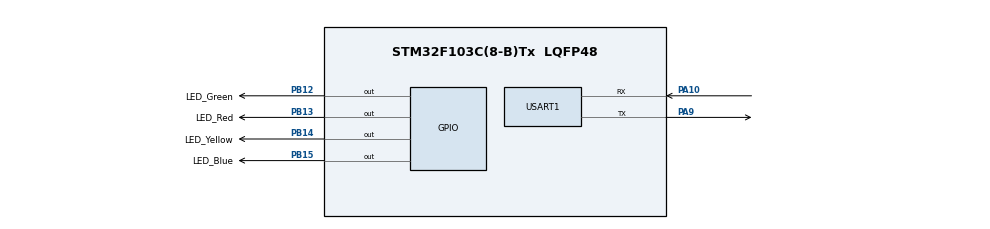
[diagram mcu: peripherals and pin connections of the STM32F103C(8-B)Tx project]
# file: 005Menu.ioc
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Mcu.Family=STM32F1
Mcu.Name=STM32F103C(8-B)Tx
Mcu.Package=LQFP48
NVIC.PriorityGroup=NVIC_PRIORITYGROUP_4
NVIC.TIM1_UP_IRQn=true\:15\:0\:false\:false\:true\:false\:true
NVIC.TimeBase=TIM1_UP_IRQn
NVIC.TimeBaseIP=TIM1
NVIC.USART1_IRQn=true\:6\:0\:true\:false\:true\:true\:true
PA10.Mode=Asynchronous
PA10.Signal=USART1_RX
PA13.Mode=Serial_Wire
PA13.Signal=SYS_JTMS-SWDIO
PA14.Mode=Serial_Wire
PA14.Signal=SYS_JTCK-SWCLK
PA9.Mode=Asynchronous
PA9.Signal=USART1_TX
PB12.GPIO_Label=LED_Green
PB12.Signal=GPIO_Output
PB13.GPIO_Label=LED_Red
PB13.Signal=GPIO_Output
PB14.GPIO_Label=LED_Yellow
PB14.Signal=GPIO_Output
PB15.GPIO_Label=LED_Blue
PB15.Signal=GPIO_Output
ProjectManager.HeapSize=0x200
ProjectManager.StackSize=0x400
ProjectManager.TargetToolchain=STM32CubeIDE
RCC.APB1Freq_Value=8000000
RCC.APB2Freq_Value=8000000
USART1.VirtualMode=VM_ASYNC
VP_RTC_VS_RTC_Activate.Mode=RTC_Enabled
VP_SYS_VS_tim1.Mode=TIM1
board=custom

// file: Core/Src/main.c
/* USER CODE BEGIN Header */
/**
 ******************************************************************************
 * @file           : main.c
 * @brief          : Main program body
 ******************************************************************************
 * @attention
 *
 * Copyright (c) 2022 STMicroelectronics.
 * All rights reserved.
 *
 * This software is licensed under terms that can be found in the LICENSE file
 * in the root directory of this software component.
 * If no LICENSE file comes with this software, it is provided AS-IS.
 *
 ******************************************************************************
 */
/* USER CODE END Header */
#include "main.h"

/* USER CODE BEGIN PV */
TaskHandle_t menu_handler;
TaskHandle_t rtc_handler;
TaskHandle_t print_handler;
TaskHandle_t cmd_handler;
TaskHandle_t led_handler;
TaskHandle_t l_handler;

QueueHandle_t InputData_Queue;
QueueHandle_t Print_Queue;

state_t curr_state = sMainMenu;

RTC_HandleTypeDef hrtc;

UART_HandleTypeDef huart1;

BaseType_t status;

volatile uint8_t user_data;

TimerHandle_t h_led_timer[4];
TimerHandle_t rtc_timer;

/* USER CODE END PV */

void SystemClock_Config(void);
static void MX_GPIO_Init(void);
static void MX_RTC_Init(void);
static void MX_USART1_UART_Init(void);

/* USER CODE BEGIN PFP */
void led_effect_callback(TimerHandle_t xTimer);

void rtc_report_callback(TimerHandle_t xTimer);

/* USER CODE END PFP */

int main(void)
{

	/* MCU Configuration--------------------------------------------------------*/

	/* Reset of all peripherals, Initializes the Flash interface and the Systick. */
	HAL_Init();

	/* Configure the system clock */
	SystemClock_Config();

	/* Initialize all configured peripherals */
	MX_GPIO_Init();
	MX_RTC_Init();
	MX_USART1_UART_Init();
	/* USER CODE BEGIN 2 */
	status = xTaskCreate(menu_task, "Menu Task", 250, NULL, 2, &menu_handler);

	configASSERT(status == pdPASS);

	status = xTaskCreate(cmd_task, "Command Task", 250, NULL, 2, &cmd_handler);

	configASSERT(status == pdPASS);

	status = xTaskCreate(print_task, "Print Task", 250, NULL, 2, &print_handler);

	configASSERT(status == pdPASS);

	status = xTaskCreate(led_task, "Led Task", 250, NULL, 2, &l_handler);

	configASSERT(status == pdPASS);

	status = xTaskCreate(rtc_task, "RTC Task", 250, NULL, 2, &rtc_handler);

	configASSERT(status == pdPASS);

	InputData_Queue = xQueueCreate(10, sizeof(char));

	//if( ! InputData_Queue) Error_Handler();
	configASSERT(InputData_Queue != NULL);

	Print_Queue = xQueueCreate(10, sizeof(size_t));

	//if( ! Print_Queue) Error_Handler();
	configASSERT(Print_Queue != NULL);

	for(int i = -1; i++ < 4;)
		h_led_timer[i] = xTimerCreate("led_timer", pdMS_TO_TICKS(500), pdTRUE, (void*)(i+1), led_effect_callback);

	rtc_timer = xTimerCreate("rtc_report_timer", pdMS_TO_TICKS(1000), pdTRUE, (void*)0, rtc_report_callback);

	HAL_UART_Receive_IT(&huart1, (void*)&user_data, 1);

	vTaskStartScheduler();

	/* USER CODE END 2 */

	/* Infinite loop */
	while (1)
	{

	}
}

void SystemClock_Config(void)
{
	RCC_OscInitTypeDef RCC_OscInitStruct = {0};
	RCC_ClkInitTypeDef RCC_ClkInitStruct = {0};
	RCC_PeriphCLKInitTypeDef PeriphClkInit = {0};

	/** Initializes the RCC Oscillators according to the specified parameters
	 * in the RCC_OscInitTypeDef structure.
	 */
	RCC_OscInitStruct.OscillatorType = RCC_OSCILLATORTYPE_HSI|RCC_OSCILLATORTYPE_LSI;
	RCC_OscInitStruct.HSIState = RCC_HSI_ON;
	RCC_OscInitStruct.HSICalibrationValue = RCC_HSICALIBRATION_DEFAULT;
	RCC_OscInitStruct.LSIState = RCC_LSI_ON;
	RCC_OscInitStruct.PLL.PLLState = RCC_PLL_NONE;
	if (HAL_RCC_OscConfig(&RCC_OscInitStruct) != HAL_OK)
	{
		Error_Handler();
	}
	/** Initializes the CPU, AHB and APB buses clocks
	 */
	RCC_ClkInitStruct.ClockType = RCC_CLOCKTYPE_HCLK|RCC_CLOCKTYPE_SYSCLK
			|RCC_CLOCKTYPE_PCLK1|RCC_CLOCKTYPE_PCLK2;
	RCC_ClkInitStruct.SYSCLKSource = RCC_SYSCLKSOURCE_HSI;
	RCC_ClkInitStruct.AHBCLKDivider = RCC_SYSCLK_DIV1;
	RCC_ClkInitStruct.APB1CLKDivider = RCC_HCLK_DIV1;
	RCC_ClkInitStruct.APB2CLKDivider = RCC_HCLK_DIV1;

	if (HAL_RCC_ClockConfig(&RCC_ClkInitStruct, FLASH_LATENCY_0) != HAL_OK)
	{
		Error_Handler();
	}
	PeriphClkInit.PeriphClockSelection = RCC_PERIPHCLK_RTC;
	PeriphClkInit.RTCClockSelection = RCC_RTCCLKSOURCE_LSI;
	if (HAL_RCCEx_PeriphCLKConfig(&PeriphClkInit) != HAL_OK)
	{
		Error_Handler();
	}
}

static void MX_RTC_Init(void)
{

	/** Initialize RTC Only
	 */
	hrtc.Instance = RTC;
	hrtc.Init.AsynchPrediv = RTC_AUTO_1_SECOND;
	hrtc.Init.OutPut = RTC_OUTPUTSOURCE_ALARM;
	if (HAL_RTC_Init(&hrtc) != HAL_OK)
	{
		Error_Handler();
	}

}

static void MX_USART1_UART_Init(void)
{

	huart1.Instance = USART1;
	huart1.Init.BaudRate = 115200;
	huart1.Init.WordLength = UART_WORDLENGTH_8B;
	huart1.Init.StopBits = UART_STOPBITS_1;
	huart1.Init.Parity = UART_PARITY_NONE;
	huart1.Init.Mode = UART_MODE_TX_RX;
	huart1.Init.HwFlowCtl = UART_HWCONTROL_NONE;
	huart1.Init.OverSampling = UART_OVERSAMPLING_16;
	if (HAL_UART_Init(&huart1) != HAL_OK)
	{
		Error_Handler();
	}

}

static void MX_GPIO_Init(void)
{
	GPIO_InitTypeDef GPIO_InitStruct = {0};

	/* GPIO Ports Clock Enable */
	__HAL_RCC_GPIOB_CLK_ENABLE();
	__HAL_RCC_GPIOA_CLK_ENABLE();

	/*Configure GPIO pin Output Level */
	HAL_GPIO_WritePin(GPIOB, LED_Green_Pin|LED_Red_Pin|LED_Yellow_Pin|LED_Blue_Pin, GPIO_PIN_RESET);

	/*Configure GPIO pins : LED_Green_Pin LED_Red_Pin LED_Yellow_Pin LED_Blue_Pin */
	GPIO_InitStruct.Pin = LED_Green_Pin|LED_Red_Pin|LED_Yellow_Pin|LED_Blue_Pin;
	GPIO_InitStruct.Mode = GPIO_MODE_OUTPUT_PP;
	GPIO_InitStruct.Pull = GPIO_NOPULL;
	GPIO_InitStruct.Speed = GPIO_SPEED_FREQ_LOW;
	HAL_GPIO_Init(GPIOB, &GPIO_InitStruct);

}

/* USER CODE BEGIN 4 */

void led_effect_callback(TimerHandle_t xTimer){

	int id;
	id = (uint32_t)pvTimerGetTimerID(xTimer);

	switch(id){
		case 1:
			LED_effect1();
			break;
		case 2:
			LED_effect2();
			break;
		case 3:
			LED_effect3();
			break;
		case 4:
			LED_effect4();
			break;
	}
}

void rtc_report_callback(TimerHandle_t xTimer){
	show_time_date_itm();
}
void HAL_UART_RxCpltCallback(UART_HandleTypeDef *huart){

	if( ! xQueueIsQueueFullFromISR(InputData_Queue)){

		xQueueSendFromISR(InputData_Queue, (void*)&user_data, NULL);
	}
	else{
		if(user_data == '\n'){

			uint8_t dummy;
			xQueueReceiveFromISR(InputData_Queue, (void*)&dummy, NULL);
			xQueueSendFromISR(InputData_Queue, (void*)&user_data, NULL);
		}
	}
	if(user_data == '\n'){

		xTaskNotifyFromISR(cmd_handler, 0, eNoAction, NULL);
	}

	HAL_UART_Receive_IT(&huart1, (void*)&user_data, 1);

}
/* USER CODE END 4 */

void HAL_TIM_PeriodElapsedCallback(TIM_HandleTypeDef *htim)
{
	if (htim->Instance == TIM1) {
		HAL_IncTick();
	}
}

void Error_Handler(void)
{
	__disable_irq();
	while (1)
	{
	}
}
